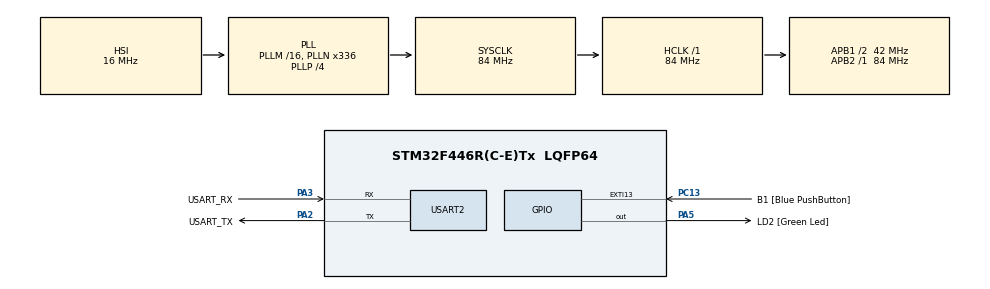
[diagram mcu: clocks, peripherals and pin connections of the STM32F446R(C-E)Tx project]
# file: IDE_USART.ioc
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Mcu.Family=STM32F4
Mcu.Name=STM32F446R(C-E)Tx
Mcu.Package=LQFP64
NVIC.PriorityGroup=NVIC_PRIORITYGROUP_0
NVIC.USART2_IRQn=true\:0\:0\:false\:false\:true\:true\:true
PA13.GPIO_Label=TMS
PA13.Mode=Serial_Wire
PA13.Signal=SYS_JTMS-SWDIO
PA14.GPIO_Label=TCK
PA14.Mode=Serial_Wire
PA14.Signal=SYS_JTCK-SWCLK
PA2.GPIO_Label=USART_TX
PA2.Mode=Asynchronous
PA2.Signal=USART2_TX
PA3.GPIO_Label=USART_RX
PA3.Mode=Asynchronous
PA3.Signal=USART2_RX
PA5.GPIO_Label=LD2 [Green Led]
PA5.Signal=GPIO_Output
PB3.GPIO_Label=SWO
PB3.Signal=SYS_JTDO-SWO
PC13.GPIO_Label=B1 [Blue PushButton]
PC13.GPIO_ModeDefaultEXTI=GPIO_MODE_IT_FALLING
PC13.Signal=GPXTI13
PC14-OSC32_IN.Mode=LSE-External-Oscillator
PC14-OSC32_IN.Signal=RCC_OSC32_IN
PC15-OSC32_OUT.Mode=LSE-External-Oscillator
PC15-OSC32_OUT.Signal=RCC_OSC32_OUT
PH0-OSC_IN.Mode=HSE-External-Oscillator
PH0-OSC_IN.Signal=RCC_OSC_IN
PH1-OSC_OUT.Mode=HSE-External-Oscillator
PH1-OSC_OUT.Signal=RCC_OSC_OUT
ProjectManager.HeapSize=0x200
ProjectManager.StackSize=0x400
ProjectManager.TargetToolchain=STM32CubeIDE
RCC.48MHZClocksFreq_Value=84000000
RCC.AHBFreq_Value=84000000
RCC.APB1CLKDivider=RCC_HCLK_DIV2
RCC.APB1Freq_Value=42000000
RCC.APB1TimFreq_Value=84000000
RCC.APB2Freq_Value=84000000
RCC.APB2TimFreq_Value=84000000
RCC.CortexFreq_Value=84000000
RCC.FLatency-AdvancedSettings=FLASH_LATENCY_2
RCC.HCLKFreq_Value=84000000
RCC.HSE_VALUE=8000000
RCC.HSI_VALUE=16000000
RCC.PLLN=336
RCC.PLLP=RCC_PLLP_DIV4
RCC.SYSCLKFreq_VALUE=84000000
RCC.SYSCLKSource=RCC_SYSCLKSOURCE_PLLCLK
RCC.USBFreq_Value=168000000
RCC.VCOOutputFreq_Value=336000000
USART2.VirtualMode=VM_ASYNC
board=NUCLEO-F446RE

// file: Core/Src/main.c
/* USER CODE BEGIN Header */
/**
  ******************************************************************************
  * @file           : main.c
  * @brief          : Main program body
  ******************************************************************************
  * @attention
  *
  * <h2><center>&copy; Copyright (c) 2021 STMicroelectronics.
  * All rights reserved.</center></h2>
  *
  * This software component is licensed by ST under BSD 3-Clause license,
  * the "License"; You may not use this file except in compliance with the
  * License. You may obtain a copy of the License at:
  *                        opensource.org/licenses/BSD-3-Clause
  *
  ******************************************************************************
  */
/* USER CODE END Header */
#include "main.h"

UART_HandleTypeDef huart2;

void SystemClock_Config(void);
static void MX_GPIO_Init(void);
static void MX_USART2_UART_Init(void);

/* USER CODE BEGIN 0 */
uint8_t hello[]="HELLO :)\n\0";
uint8_t error[]="input not valid :(\n\0";
uint8_t in_message[5] = "xxxx\0";
uint8_t enter[]="\n";
uint8_t led_off[]="led0\0";
uint8_t led_on[]="led1\0";

/* USER CODE END 0 */

int main(void)
{

  /* MCU Configuration--------------------------------------------------------*/

  /* Reset of all peripherals, Initializes the Flash interface and the Systick. */
  HAL_Init();

  /* Configure the system clock */
  SystemClock_Config();

  /* Initialize all configured peripherals */
  MX_GPIO_Init();
//  MX_DMA_Init();
  MX_USART2_UART_Init();
  /* USER CODE BEGIN 2 */
  // HAL_UART_Receive_DMA(&huart2,in_message,11);

  HAL_UART_Transmit(&huart2, hello, sizeof(hello),10);
//  while (huart2.gState == HAL_UART_STATE_BUSY_TX) {}

	  HAL_GPIO_WritePin(GPIOA,GPIO_PIN_5,GPIO_PIN_RESET);
  /* USER CODE END 2 */
  /* Infinite loop */
  /* USER CODE BEGIN WHILE */

  while (1)
  {
	  HAL_UART_Receive(&huart2, in_message, sizeof(in_message)-1,3600000);
//	  in_message[4] = '\0';

//	  if (huart2.RxXferCount==4){
			 HAL_UART_Transmit(&huart2, in_message,  sizeof(in_message),10);
			 HAL_UART_Transmit(&huart2, enter, sizeof(enter),10);

			 if (strcmp(in_message,led_on)==0)
				 HAL_GPIO_WritePin(GPIOA,GPIO_PIN_5,GPIO_PIN_SET);
			 else if (strcmp(in_message, led_off)==0)
				 HAL_GPIO_WritePin(GPIOA,GPIO_PIN_5,GPIO_PIN_RESET);
			 else
				 HAL_UART_Transmit(&huart2, error, sizeof(error),10);

//	  	 }

	 HAL_Delay(10);

	  /* USER CODE END WHILE */

  }
}

void SystemClock_Config(void)
{
  RCC_OscInitTypeDef RCC_OscInitStruct = {0};
  RCC_ClkInitTypeDef RCC_ClkInitStruct = {0};

  /** Configure the main internal regulator output voltage
  */
  __HAL_RCC_PWR_CLK_ENABLE();
  __HAL_PWR_VOLTAGESCALING_CONFIG(PWR_REGULATOR_VOLTAGE_SCALE3);
  /** Initializes the RCC Oscillators according to the specified parameters
  * in the RCC_OscInitTypeDef structure.
  */
  RCC_OscInitStruct.OscillatorType = RCC_OSCILLATORTYPE_HSI;
  RCC_OscInitStruct.HSIState = RCC_HSI_ON;
  RCC_OscInitStruct.HSICalibrationValue = RCC_HSICALIBRATION_DEFAULT;
  RCC_OscInitStruct.PLL.PLLState = RCC_PLL_ON;
  RCC_OscInitStruct.PLL.PLLSource = RCC_PLLSOURCE_HSI;
  RCC_OscInitStruct.PLL.PLLM = 16;
  RCC_OscInitStruct.PLL.PLLN = 336;
  RCC_OscInitStruct.PLL.PLLP = RCC_PLLP_DIV4;
  RCC_OscInitStruct.PLL.PLLQ = 2;
  RCC_OscInitStruct.PLL.PLLR = 2;
  if (HAL_RCC_OscConfig(&RCC_OscInitStruct) != HAL_OK)
  {
    Error_Handler();
  }
  /** Initializes the CPU, AHB and APB buses clocks
  */
  RCC_ClkInitStruct.ClockType = RCC_CLOCKTYPE_HCLK|RCC_CLOCKTYPE_SYSCLK
                              |RCC_CLOCKTYPE_PCLK1|RCC_CLOCKTYPE_PCLK2;
  RCC_ClkInitStruct.SYSCLKSource = RCC_SYSCLKSOURCE_PLLCLK;
  RCC_ClkInitStruct.AHBCLKDivider = RCC_SYSCLK_DIV1;
  RCC_ClkInitStruct.APB1CLKDivider = RCC_HCLK_DIV2;
  RCC_ClkInitStruct.APB2CLKDivider = RCC_HCLK_DIV1;

  if (HAL_RCC_ClockConfig(&RCC_ClkInitStruct, FLASH_LATENCY_2) != HAL_OK)
  {
    Error_Handler();
  }
}

static void MX_USART2_UART_Init(void)
{

  huart2.Instance = USART2;
  huart2.Init.BaudRate = 115200;
  huart2.Init.WordLength = UART_WORDLENGTH_8B;
  huart2.Init.StopBits = UART_STOPBITS_1;
  huart2.Init.Parity = UART_PARITY_NONE;
  huart2.Init.Mode = UART_MODE_TX_RX;
  huart2.Init.HwFlowCtl = UART_HWCONTROL_NONE;
  huart2.Init.OverSampling = UART_OVERSAMPLING_16;
  if (HAL_UART_Init(&huart2) != HAL_OK)
  {
    Error_Handler();
  }

}

static void MX_GPIO_Init(void)
{
  GPIO_InitTypeDef GPIO_InitStruct = {0};

  /* GPIO Ports Clock Enable */
  __HAL_RCC_GPIOC_CLK_ENABLE();
  __HAL_RCC_GPIOH_CLK_ENABLE();
  __HAL_RCC_GPIOA_CLK_ENABLE();
  __HAL_RCC_GPIOB_CLK_ENABLE();

  /*Configure GPIO pin Output Level */
  HAL_GPIO_WritePin(LD2_GPIO_Port, LD2_Pin, GPIO_PIN_RESET);

  /*Configure GPIO pin : B1_Pin */
  GPIO_InitStruct.Pin = B1_Pin;
  GPIO_InitStruct.Mode = GPIO_MODE_IT_FALLING;
  GPIO_InitStruct.Pull = GPIO_NOPULL;
  HAL_GPIO_Init(B1_GPIO_Port, &GPIO_InitStruct);

  /*Configure GPIO pin : LD2_Pin */
  GPIO_InitStruct.Pin = LD2_Pin;
  GPIO_InitStruct.Mode = GPIO_MODE_OUTPUT_PP;
  GPIO_InitStruct.Pull = GPIO_NOPULL;
  GPIO_InitStruct.Speed = GPIO_SPEED_FREQ_LOW;
  HAL_GPIO_Init(LD2_GPIO_Port, &GPIO_InitStruct);

}

void Error_Handler(void)
{
  __disable_irq();
  while (1)
  {
  }
}

/************************ (C) COPYRIGHT STMicroelectronics *****END OF FILE****/
